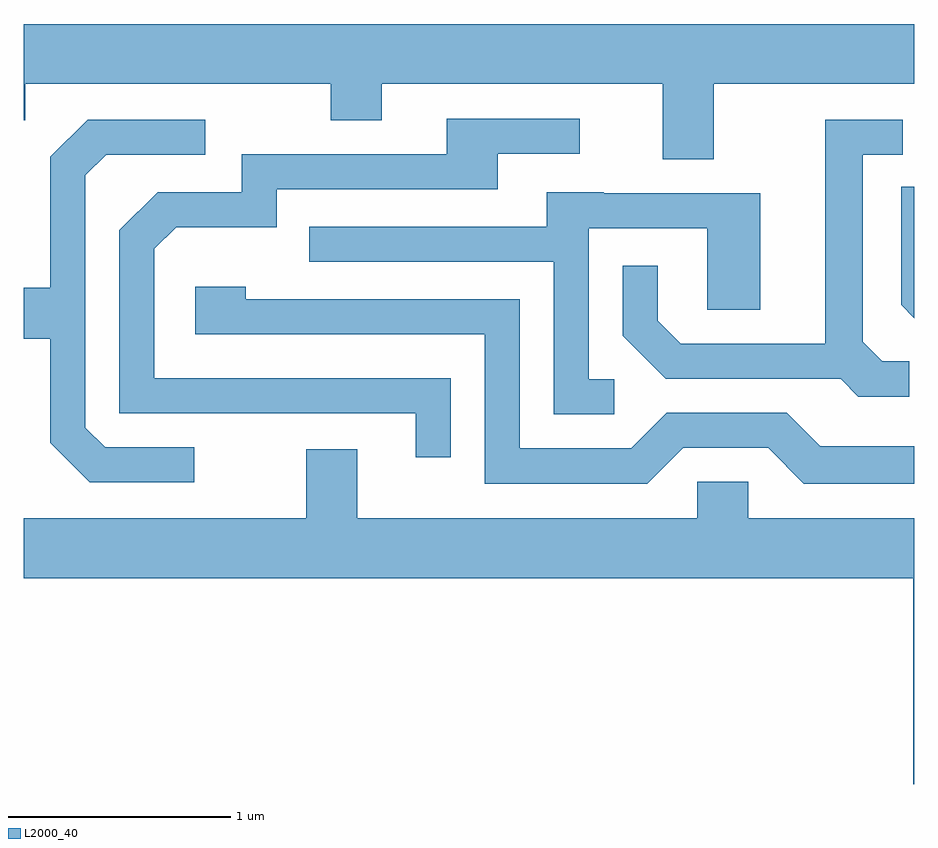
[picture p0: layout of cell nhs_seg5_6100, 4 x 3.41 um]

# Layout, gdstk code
import gdstk
lib = gdstk.Library(unit=1e-6, precision=1e-09)
def P(c, l, *ps):  # polygons
    for p in ps: c.add(gdstk.Polygon(p, *l))
L2000_40 = (2000, 40)

nhs_seg5_6100 = lib.new_cell('nhs_seg5_6100')
P(nhs_seg5_6100, L2000_40, [(368.709,1481.216),(369.611,1481.216),(369.611,1481.484),(365.611,1481.484),(365.611,1481.051),(365.619,1481.051),(365.619,1481.216),(366.991,1481.216),(366.991,1481.051),(367.219,1481.051),(367.219,1481.216),(368.481,1481.216),(368.481,1480.876),(368.709,1480.876)],
  [(367.529,1479.894),(366.199,1479.894),(366.199,1480.474),(366.297,1480.571),(366.749,1480.571),(366.749,1480.741),(367.739,1480.741),(367.739,1480.901),(368.108,1480.901),(368.108,1481.059),(367.511,1481.059),(367.511,1480.899),(366.591,1480.899),(366.591,1480.729),(366.214,1480.729),(366.041,1480.557),(366.041,1479.736),(367.371,1479.736),(367.371,1479.538),(367.529,1479.538)],
  [(369.588,1479.969),(369.467,1479.969),(369.379,1480.057),(369.379,1480.896),(369.558,1480.896),(369.558,1481.054),(369.211,1481.054),(369.211,1480.049),(368.562,1480.049),(368.459,1480.152),(368.459,1480.398),(368.301,1480.398),(368.301,1480.084),(368.494,1479.891),(369.279,1479.891),(369.359,1479.811),(369.588,1479.811)],
  [(366.378,1479.584),(365.977,1479.584),(365.889,1479.672),(365.889,1480.804),(365.982,1480.896),(366.428,1480.896),(366.428,1481.054),(365.899,1481.054),(365.731,1480.887),(365.731,1480.299),(365.611,1480.299),(365.611,1480.071),(365.731,1480.071),(365.731,1479.604),(365.909,1479.426),(366.378,1479.426)],
  [(369.611,1480.753),(369.551,1480.753),(369.551,1480.224),(369.611,1480.164)],
  [(368.263,1479.889),(368.149,1479.889),(368.149,1480.566),(368.681,1480.566),(368.681,1480.201),(368.919,1480.201),(368.919,1480.724),(368.215,1480.724),(368.215,1480.729),(367.961,1480.729),(367.961,1480.574),(366.893,1480.574),(366.893,1480.416),(367.991,1480.416),(367.991,1479.731),(368.263,1479.731)],
  [(368.572,1479.581),(368.954,1479.581),(369.114,1479.421),(369.611,1479.421),(369.611,1479.589),(369.187,1479.589),(369.037,1479.739),(368.499,1479.739),(368.339,1479.579),(367.839,1479.579),(367.839,1480.249),(366.609,1480.249),(366.609,1480.304),(366.381,1480.304),(366.381,1480.091),(367.681,1480.091),(367.681,1479.421),(368.412,1479.421)],
  [(369.611,1479.264),(368.864,1479.264),(368.864,1479.429),(368.636,1479.429),(368.636,1479.264),(367.109,1479.264),(367.109,1479.574),(366.881,1479.574),(366.881,1479.264),(365.611,1479.264),(365.611,1478.996),(369.606,1478.996),(369.606,1478.072),(369.611,1478.072)])

lib.write_gds('nhs_seg5_6100.gds')
